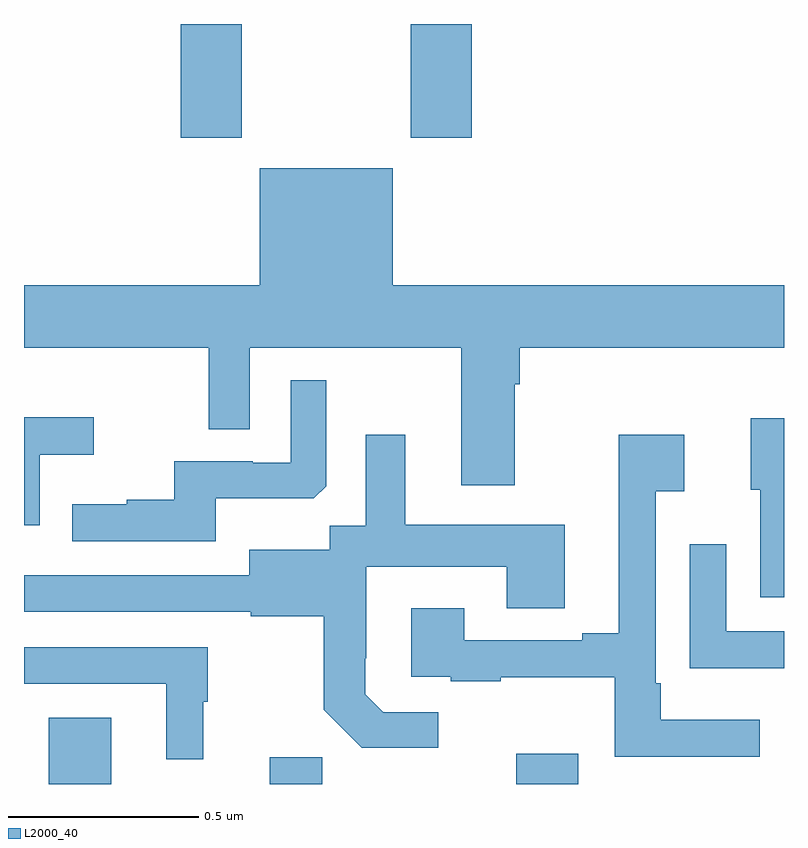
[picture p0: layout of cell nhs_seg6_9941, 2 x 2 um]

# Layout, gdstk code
import gdstk
lib = gdstk.Library(unit=1e-6, precision=1e-09)
def R(c, l, rs):  # rectangles x0, y0, x1, y1
    for r in rs: c.add(gdstk.rectangle(r[:2], r[2:], *l))
def P(c, l, *ps):  # polygons
    for p in ps: c.add(gdstk.Polygon(p, *l))
L2000_40 = (2000, 40)

nhs_seg6_9941 = lib.new_cell('nhs_seg6_9941')
R(nhs_seg6_9941, L2000_40, [(240.065,967.5,240.229,967.675), (240.647,967.5,240.785,967.571), (241.295,967.5,241.459,967.579), (240.413,969.201,240.573,969.5), (241.018,969.201,241.178,969.5)])
P(nhs_seg6_9941, L2000_40, [(240.97,969.121),(240.62,969.121),(240.62,968.812),(240,968.812),(240,968.648),(240.486,968.648),(240.486,968.434),(240.594,968.434),(240.594,968.648),(241.151,968.648),(241.151,968.286),(241.291,968.286),(241.291,968.552),(241.304,968.552),(241.304,968.648),(242,968.648),(242,968.812),(240.97,968.812)],
  [(240.505,968.252),(240.763,968.252),(240.795,968.283),(240.795,968.563),(240.702,968.563),(240.702,968.346),(240.602,968.346),(240.602,968.349),(240.395,968.349),(240.395,968.248),(240.271,968.248),(240.271,968.236),(240.127,968.236),(240.127,968.139),(240.505,968.139)],
  [(240.042,968.366),(240.184,968.366),(240.184,968.465),(240,968.465),(240,968.181),(240.042,968.181)],
  [(242,968.462),(241.913,968.462),(241.913,968.274),(241.938,968.274),(241.938,967.992),(242,967.992)],
  [(241.09,967.689),(240.945,967.689),(240.898,967.736),(240.898,967.831),(240.9,967.831),(240.9,968.072),(241.271,968.072),(241.271,967.963),(241.423,967.963),(241.423,968.182),(241.003,968.182),(241.003,968.419),(240.899,968.419),(240.899,968.18),(240.804,968.18),(240.804,968.116),(240.593,968.116),(240.593,968.049),(240.035,968.049),(240.035,968.05),(240,968.05),(240,967.953),(240.597,967.953),(240.597,967.941),(240.789,967.941),(240.789,967.695),(240.889,967.595),(241.09,967.595)],
  [(241.936,967.669),(241.675,967.669),(241.675,967.765),(241.662,967.765),(241.662,968.27),(241.738,968.27),(241.738,968.419),(241.565,968.419),(241.565,967.897),(241.469,967.897),(241.469,967.878),(241.159,967.878),(241.159,967.963),(241.019,967.963),(241.019,967.782),(241.123,967.782),(241.123,967.77),(241.255,967.77),(241.255,967.781),(241.554,967.781),(241.554,967.572),(241.936,967.572)],
  [(242,967.902),(241.848,967.902),(241.848,968.131),(241.752,968.131),(241.752,967.805),(242,967.805)],
  [(240.472,967.716),(240.484,967.716),(240.484,967.86),(240,967.86),(240,967.764),(240.374,967.764),(240.374,967.565),(240.472,967.565)])

lib.write_gds('nhs_seg6_9941.gds')
